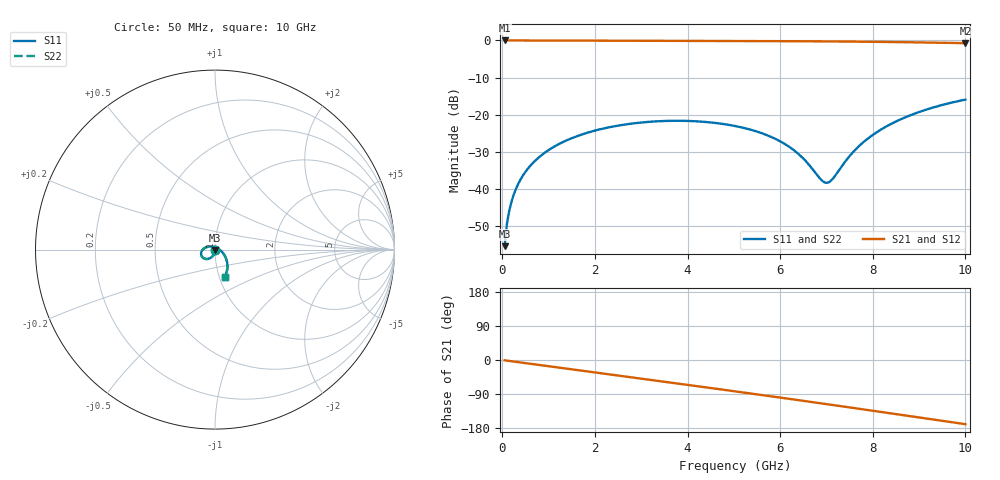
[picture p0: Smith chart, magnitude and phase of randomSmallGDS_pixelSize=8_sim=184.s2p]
! freq	dB(S11)	phase(S11)	dB(S12)	phase(S12)
!  dB(S21)	phase(S21)	dB(S22)	phase(S22)
!S-par simulation data
#  GHz  S  DB  R 50
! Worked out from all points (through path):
!   200 points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, 50 MHz to 10 GHz, reference 50 ohm
!   highest |S21| = 0.00 dB at 50 MHz (marker M1); lowest = -0.7 dB at 10 GHz (marker M2)
!   group delay of S21, straight-line fit = 46.9 ps
!   lowest |S11| = -55.4 dB at 50 MHz (marker M3), VSWR 1.00, Z = 50 - j0.171 ohm
!   |S11| at or under -10 dB: start of sweep to end of sweep
!   |S22| runs from -55.4 to -15.9 dB; largest |S21 - S12| = 0
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0.05  -55.36 -90.3  -0.00 -0.8  -0.00 -0.8  -55.36 -90.3
0.1  -49.34 -91.6  -0.00 -1.7  -0.00 -1.7  -49.34 -91.6
0.2  -43.31 -93.6  -0.00 -3.3  -0.00 -3.3  -43.31 -93.6
0.35  -38.45 -96.4  -0.00 -5.8  -0.00 -5.8  -38.45 -96.4
0.5  -35.36 -99.0  -0.01 -8.3  -0.01 -8.3  -35.36 -99.0
0.7  -32.48 -102.4  -0.01 -11.5  -0.01 -11.5  -32.48 -102.4
1  -29.50 -107.5  -0.02 -16.4  -0.02 -16.4  -29.50 -107.5
1.75  -25.18 -120.1  -0.04 -28.7  -0.04 -28.7  -25.18 -120.1
2.5  -22.92 -132.7  -0.07 -41.0  -0.07 -41.0  -22.92 -132.7
3.4  -21.72 -148.0  -0.09 -55.7  -0.09 -55.7  -21.72 -148.0
4.25  -21.80 -163.0  -0.12 -69.7  -0.12 -69.7  -21.80 -162.9
5.05  -23.08 -178.2  -0.14 -83.1  -0.14 -83.1  -23.08 -178.1
5.6  -24.95 169.9  -0.17 -92.3  -0.17 -92.3  -24.95 170.0
6.05  -27.49 157.8  -0.19 -100.0  -0.19 -100.0  -27.49 158.0
6.4  -30.60 144.3  -0.21 -106.0  -0.21 -106.0  -30.61 144.5
6.7  -34.64 122.5  -0.23 -111.2  -0.23 -111.2  -34.68 122.9
6.9  -37.68 91.6  -0.24 -114.6  -0.24 -114.6  -37.79 92.0
7.05  -38.18 56.4  -0.26 -117.2  -0.26 -117.2  -38.31 56.4
7.7  -28.46 -15.5  -0.32 -128.6  -0.32 -128.6  -28.48 -15.8
8.35  -22.76 -36.0  -0.41 -140.1  -0.41 -140.1  -22.77 -36.2
9.1  -18.84 -52.6  -0.54 -153.4  -0.54 -153.4  -18.84 -52.8
10  -15.92 -69.9  -0.73 -169.4  -0.73 -169.4  -15.93 -70.0
